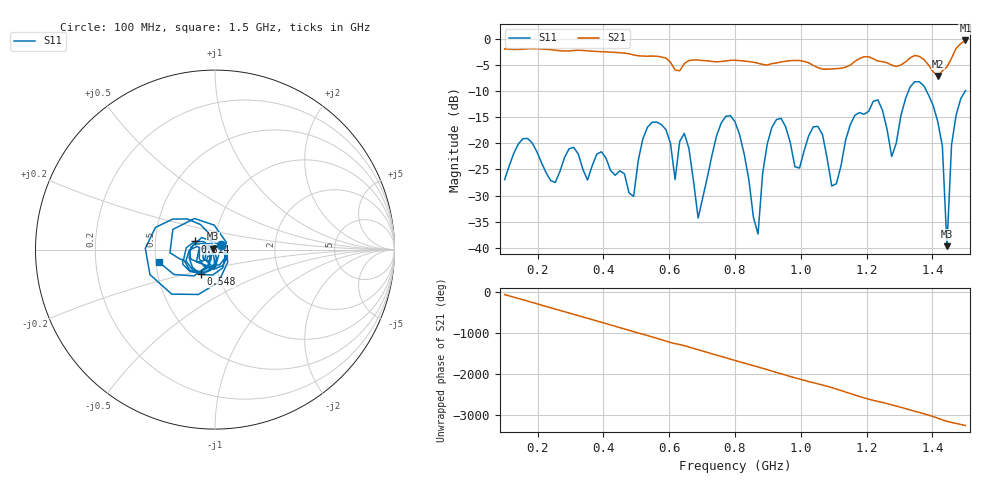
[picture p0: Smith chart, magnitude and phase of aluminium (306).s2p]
! NanoVNA-App
! Date: 2025-09-25 14:57:40
! Start: 100MHz Stop: 1,5GHz Points: 101
! S-Parameter data: F S11 S21 S12 S22
# Hz S RI R 50
!  Frequency  S11_Real  S11_Imag  S21_Real  S21_Imag  S12_Real  S12_Imag  S22_Real  S22_Imag
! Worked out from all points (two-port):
!   101 points, 100 MHz to 1.5 GHz, reference 50 ohm
!   highest |S21| = -0.31 dB at 1.5 GHz (marker M1); lowest = -7.1 dB at 1.416 GHz (marker M2)
!   |S21| within 3 dB of the highest: start of sweep to 524.5 MHz; 1.461 GHz to end of sweep (the widest 2 of 4)
!   lowest |S11| = -39.7 dB at 1.444 GHz (marker M3), VSWR 1.02, Z = 49.1 + j0.45 ohm
!   |S11| at or under -10 dB: start of sweep to 1.327 GHz; 1.382 GHz to 1.499 GHz (117.3 MHz wide, 8.14 % of centre)
!   S12 and S22 are empty: the file has one direction only
!   S11 on the Smith chart (normalised r, x): 100 MHz: 1.07, +0.06; 548 MHz: 0.82, -0.23; 814 MHz: 0.80, +0.07; 1.5 GHz: 0.52, -0.08
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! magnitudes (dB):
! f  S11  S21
! 100 MHz  -27.0  -1.9
! 338 MHz  -25.0  -2.2
! 492 MHz  -30.2  -3.1
! 548 MHz  -16.0  -3.3
! 576 MHz  -16.4  -3.5
! 618 MHz  -26.9  -6.0
! 646 MHz  -18.1  -4.7
! 688 MHz  -34.3  -4.1
! 800 MHz  -15.9  -4.1
! 814 MHz  -18.4  -4.2
! 870 MHz  -37.4  -4.7
! 912 MHz  -17.0  -4.7
! 996 MHz  -24.7  -4.1
! 1.038 GHz  -16.8  -5.1
! 1.094 GHz  -28.2  -5.8
! 1.22 GHz  -12.0  -3.8
! 1.276 GHz  -22.5  -5.0
! 1.346 GHz  -8.2  -3.2
! 1.416 GHz  -15.8  -7.1
! 1.444 GHz  -39.7  -5.4
! 1.458 GHz  -20.3  -3.7
! 1.5 GHz  -9.9  -0.3
